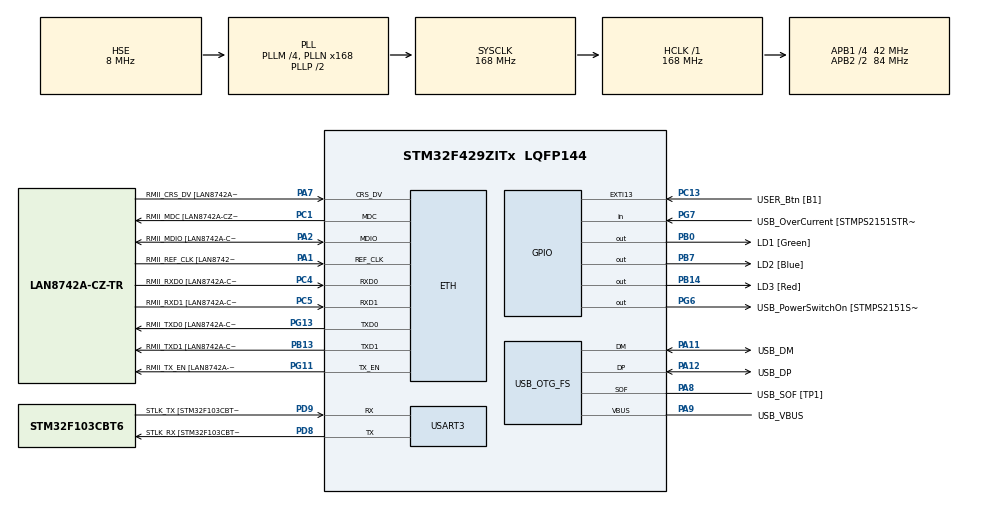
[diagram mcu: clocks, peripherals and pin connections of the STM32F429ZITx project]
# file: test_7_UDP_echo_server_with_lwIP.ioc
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ETH.MediaInterface=HAL_ETH_RMII_MODE
ETH.PHY_Name=LAN8742A_PHY_ADDRESS
ETH.PHY_Value=0
ETH.PhyAddress=0
LWIP.BSP.number=1
LWIP.CHECKSUM_BY_HARDWARE=1
LWIP.CHECKSUM_GEN_UDP=0
LWIP.GATEWAY_ADDRESS=192.168.001.001
LWIP.IP_ADDRESS=192.168.001.194
LWIP.LWIP_DHCP=0
LWIP.NETMASK_ADDRESS=255.255.255.000
LWIP.Version=v2.1.2_Cube
LWIP0.BSP.STBoard=false
LWIP0.BSP.api=BSP_COMPONENT_DRIVER
LWIP0.BSP.component=LAN8742
LWIP0.BSP.instance=LAN8742
LWIP0.BSP.name=Driver_PHY
LWIP0.BSP.semaphore=S_LAN8742
LWIP0.BSP.solution=LAN8742
Mcu.Family=STM32F4
Mcu.Name=STM32F429ZITx
Mcu.Package=LQFP144
NVIC.PriorityGroup=NVIC_PRIORITYGROUP_4
PA1.GPIO_Label=RMII_REF_CLK [LAN8742A-CZ-TR_REFCLK0]
PA1.Mode=RMII
PA1.Signal=ETH_REF_CLK
PA10.GPIO_Label=USB_ID
PA10.Signal=USB_OTG_FS_ID
PA11.GPIO_Label=USB_DM
PA11.Mode=Device_Only
PA11.Signal=USB_OTG_FS_DM
PA12.GPIO_Label=USB_DP
PA12.Mode=Device_Only
PA12.Signal=USB_OTG_FS_DP
PA13.GPIO_Label=TMS
PA13.Mode=Serial_Wire
PA13.Signal=SYS_JTMS-SWDIO
PA14.GPIO_Label=TCK
PA14.Mode=Serial_Wire
PA14.Signal=SYS_JTCK-SWCLK
PA2.GPIO_Label=RMII_MDIO [LAN8742A-CZ-TR_MDIO]
PA2.Mode=RMII
PA2.Signal=ETH_MDIO
PA7.GPIO_Label=RMII_CRS_DV [LAN8742A-CZ-TR_CRS_DV]
PA7.Mode=RMII
PA7.Signal=ETH_CRS_DV
PA8.GPIO_Label=USB_SOF [TP1]
PA8.Mode=Activate_SOF_FS
PA8.Signal=USB_OTG_FS_SOF
PA9.GPIO_Label=USB_VBUS
PA9.Mode=Activate_VBUS
PA9.Signal=USB_OTG_FS_VBUS
PB0.GPIO_Label=LD1 [Green]
PB0.Signal=GPIO_Output
PB13.GPIO_Label=RMII_TXD1 [LAN8742A-CZ-TR_TXD1]
PB13.Mode=RMII
PB13.Signal=ETH_TXD1
PB14.GPIO_Label=LD3 [Red]
PB14.Signal=GPIO_Output
PB7.GPIO_Label=LD2 [Blue]
PB7.Signal=GPIO_Output
PC1.GPIO_Label=RMII_MDC [LAN8742A-CZ-TR_MDC]
PC1.Mode=RMII
PC1.Signal=ETH_MDC
PC13.GPIO_Label=USER_Btn [B1]
PC13.Signal=GPXTI13
PC14/OSC32_IN.Mode=LSE-External-Oscillator
PC14/OSC32_IN.Signal=RCC_OSC32_IN
PC15/OSC32_OUT.Mode=LSE-External-Oscillator
PC15/OSC32_OUT.Signal=RCC_OSC32_OUT
PC4.GPIO_Label=RMII_RXD0 [LAN8742A-CZ-TR_RXD0]
PC4.Mode=RMII
PC4.Signal=ETH_RXD0
PC5.GPIO_Label=RMII_RXD1 [LAN8742A-CZ-TR_RXD1]
PC5.Mode=RMII
PC5.Signal=ETH_RXD1
PD8.GPIO_Label=STLK_RX [STM32F103CBT6_PA3]
PD8.Mode=Asynchronous
PD8.Signal=USART3_TX
PD9.GPIO_Label=STLK_TX [STM32F103CBT6_PA2]
PD9.Mode=Asynchronous
PD9.Signal=USART3_RX
PG11.GPIO_Label=RMII_TX_EN [LAN8742A-CZ-TR_TXEN]
PG11.Mode=RMII
PG11.Signal=ETH_TX_EN
PG13.GPIO_Label=RMII_TXD0 [LAN8742A-CZ-TR_TXD0]
PG13.Mode=RMII
PG13.Signal=ETH_TXD0
PG6.GPIO_Label=USB_PowerSwitchOn [STMPS2151STR_EN]
PG6.Signal=GPIO_Output
PG7.GPIO_Label=USB_OverCurrent [STMPS2151STR_FAULT]
PG7.Signal=GPIO_Input
PH0/OSC_IN.GPIO_Label=MCO [STM32F103CBT6_PA8]
PH0/OSC_IN.Mode=HSE-External-Clock-Source
PH0/OSC_IN.Signal=RCC_OSC_IN
PH1/OSC_OUT.Mode=HSE-External-Clock-Source
PH1/OSC_OUT.Signal=RCC_OSC_OUT
ProjectManager.HeapSize=0x200
ProjectManager.StackSize=0x400
ProjectManager.TargetToolchain=STM32CubeIDE
RCC.48MHZClocksFreq_Value=48000000
RCC.AHBFreq_Value=168000000
RCC.APB1CLKDivider=RCC_HCLK_DIV4
RCC.APB1Freq_Value=42000000
RCC.APB1TimFreq_Value=84000000
RCC.APB2CLKDivider=RCC_HCLK_DIV2
RCC.APB2Freq_Value=84000000
RCC.APB2TimCLKDivider=2
RCC.APB2TimFreq_Value=168000000
RCC.CortexFreq_Value=168000000
RCC.HCLKFreq_Value=168000000
RCC.HSE_VALUE=8000000
RCC.HSI_VALUE=16000000
RCC.PLLM=4
RCC.PLLMUL=RCC_PLL_MUL9
RCC.PLLN=168
RCC.PLLQ=7
RCC.PRESCALERUSB=RCC_USBCLKSOURCE_PLL_DIV1_5
RCC.SYSCLKFreq_VALUE=168000000
RCC.SYSCLKSource=RCC_SYSCLKSOURCE_PLLCLK
RCC.SYSCLKSourceVirtual=RCC_SYSCLKSOURCE_PLLCLK
RCC.USBFreq_Value=48000000
RCC.VCOOutputFreq_Value=336000000
TIM1.Period=10-1
TIM1.Prescaler=8400-1
USART3.VirtualMode=VM_ASYNC
USB_OTG_FS.VirtualMode=Device_Only
VP_LWIP_VS_Enabled.Mode=Enabled
VP_TIM1_VS_ClockSourceINT.Mode=Internal
board=NUCLEO-F429ZI

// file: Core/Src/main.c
/* USER CODE BEGIN Header */
/**
  ******************************************************************************
  * @file           : main.c
  * @brief          : Main program body
  ******************************************************************************
  * @attention
  *
  * Copyright (c) 2024 STMicroelectronics.
  * All rights reserved.
  *
  * This software is licensed under terms that can be found in the LICENSE file
  * in the root directory of this software component.
  * If no LICENSE file comes with this software, it is provided AS-IS.
  *
  ******************************************************************************
  */
/* USER CODE END Header */
#include "main.h"
#include "lwip.h"

/* USER CODE BEGIN Includes */
#include "udp_echoserver.h"
#include <stdbool.h>
/* USER CODE END Includes */

TIM_HandleTypeDef htim1;

UART_HandleTypeDef huart3;

PCD_HandleTypeDef hpcd_USB_OTG_FS;

/* USER CODE BEGIN PV */
extern struct netif gnetif;
bool is_t;
/* USER CODE END PV */

void SystemClock_Config(void);
static void MX_GPIO_Init(void);
static void MX_USART3_UART_Init(void);
static void MX_USB_OTG_FS_PCD_Init(void);
static void MX_TIM1_Init(void);
/* USER CODE BEGIN PFP */
void ethernetif_notify_conn_changed(struct netif *netif);
/* USER CODE END PFP */

int main(void)
{

  /* MCU Configuration--------------------------------------------------------*/

  /* Reset of all peripherals, Initializes the Flash interface and the Systick. */
  HAL_Init();

  /* Configure the system clock */
  SystemClock_Config();

  /* Initialize all configured peripherals */
  MX_GPIO_Init();
  MX_USART3_UART_Init();
  MX_USB_OTG_FS_PCD_Init();
  MX_LWIP_Init();
  MX_TIM1_Init();
  /* USER CODE BEGIN 2 */
  udp_echoserver_init();
  /* USER CODE END 2 */

  /* Infinite loop */
  /* USER CODE BEGIN WHILE */
  while (1)
  {
  	ethernetif_notify_conn_changed(&gnetif);
  	if (is_t)
  	{
  		MX_LWIP_Process();
  		is_t = false;
  	}
    /* USER CODE END WHILE */

  }
}

void SystemClock_Config(void)
{
  RCC_OscInitTypeDef RCC_OscInitStruct = {0};
  RCC_ClkInitTypeDef RCC_ClkInitStruct = {0};

  /** Configure the main internal regulator output voltage
  */
  __HAL_RCC_PWR_CLK_ENABLE();
  __HAL_PWR_VOLTAGESCALING_CONFIG(PWR_REGULATOR_VOLTAGE_SCALE1);

  /** Initializes the RCC Oscillators according to the specified parameters
  * in the RCC_OscInitTypeDef structure.
  */
  RCC_OscInitStruct.OscillatorType = RCC_OSCILLATORTYPE_HSE;
  RCC_OscInitStruct.HSEState = RCC_HSE_BYPASS;
  RCC_OscInitStruct.PLL.PLLState = RCC_PLL_ON;
  RCC_OscInitStruct.PLL.PLLSource = RCC_PLLSOURCE_HSE;
  RCC_OscInitStruct.PLL.PLLM = 4;
  RCC_OscInitStruct.PLL.PLLN = 168;
  RCC_OscInitStruct.PLL.PLLP = RCC_PLLP_DIV2;
  RCC_OscInitStruct.PLL.PLLQ = 7;
  if (HAL_RCC_OscConfig(&RCC_OscInitStruct) != HAL_OK)
  {
    Error_Handler();
  }

  /** Initializes the CPU, AHB and APB buses clocks
  */
  RCC_ClkInitStruct.ClockType = RCC_CLOCKTYPE_HCLK|RCC_CLOCKTYPE_SYSCLK
                              |RCC_CLOCKTYPE_PCLK1|RCC_CLOCKTYPE_PCLK2;
  RCC_ClkInitStruct.SYSCLKSource = RCC_SYSCLKSOURCE_PLLCLK;
  RCC_ClkInitStruct.AHBCLKDivider = RCC_SYSCLK_DIV1;
  RCC_ClkInitStruct.APB1CLKDivider = RCC_HCLK_DIV4;
  RCC_ClkInitStruct.APB2CLKDivider = RCC_HCLK_DIV2;

  if (HAL_RCC_ClockConfig(&RCC_ClkInitStruct, FLASH_LATENCY_5) != HAL_OK)
  {
    Error_Handler();
  }
}

static void MX_TIM1_Init(void)
{

  TIM_ClockConfigTypeDef sClockSourceConfig = {0};
  TIM_MasterConfigTypeDef sMasterConfig = {0};

  htim1.Instance = TIM1;
  htim1.Init.Prescaler = 8400-1;
  htim1.Init.CounterMode = TIM_COUNTERMODE_UP;
  htim1.Init.Period = 10-1;
  htim1.Init.ClockDivision = TIM_CLOCKDIVISION_DIV1;
  htim1.Init.RepetitionCounter = 0;
  htim1.Init.AutoReloadPreload = TIM_AUTORELOAD_PRELOAD_DISABLE;
  if (HAL_TIM_Base_Init(&htim1) != HAL_OK)
  {
    Error_Handler();
  }
  sClockSourceConfig.ClockSource = TIM_CLOCKSOURCE_INTERNAL;
  if (HAL_TIM_ConfigClockSource(&htim1, &sClockSourceConfig) != HAL_OK)
  {
    Error_Handler();
  }
  sMasterConfig.MasterOutputTrigger = TIM_TRGO_RESET;
  sMasterConfig.MasterSlaveMode = TIM_MASTERSLAVEMODE_DISABLE;
  if (HAL_TIMEx_MasterConfigSynchronization(&htim1, &sMasterConfig) != HAL_OK)
  {
    Error_Handler();
  }

}

static void MX_USART3_UART_Init(void)
{

  huart3.Instance = USART3;
  huart3.Init.BaudRate = 115200;
  huart3.Init.WordLength = UART_WORDLENGTH_8B;
  huart3.Init.StopBits = UART_STOPBITS_1;
  huart3.Init.Parity = UART_PARITY_NONE;
  huart3.Init.Mode = UART_MODE_TX_RX;
  huart3.Init.HwFlowCtl = UART_HWCONTROL_NONE;
  huart3.Init.OverSampling = UART_OVERSAMPLING_16;
  if (HAL_UART_Init(&huart3) != HAL_OK)
  {
    Error_Handler();
  }

}

static void MX_USB_OTG_FS_PCD_Init(void)
{

  hpcd_USB_OTG_FS.Instance = USB_OTG_FS;
  hpcd_USB_OTG_FS.Init.dev_endpoints = 4;
  hpcd_USB_OTG_FS.Init.speed = PCD_SPEED_FULL;
  hpcd_USB_OTG_FS.Init.dma_enable = DISABLE;
  hpcd_USB_OTG_FS.Init.phy_itface = PCD_PHY_EMBEDDED;
  hpcd_USB_OTG_FS.Init.Sof_enable = ENABLE;
  hpcd_USB_OTG_FS.Init.low_power_enable = DISABLE;
  hpcd_USB_OTG_FS.Init.lpm_enable = DISABLE;
  hpcd_USB_OTG_FS.Init.vbus_sensing_enable = ENABLE;
  hpcd_USB_OTG_FS.Init.use_dedicated_ep1 = DISABLE;
  if (HAL_PCD_Init(&hpcd_USB_OTG_FS) != HAL_OK)
  {
    Error_Handler();
  }

}

static void MX_GPIO_Init(void)
{
  GPIO_InitTypeDef GPIO_InitStruct = {0};

  /* GPIO Ports Clock Enable */
  __HAL_RCC_GPIOC_CLK_ENABLE();
  __HAL_RCC_GPIOH_CLK_ENABLE();
  __HAL_RCC_GPIOA_CLK_ENABLE();
  __HAL_RCC_GPIOB_CLK_ENABLE();
  __HAL_RCC_GPIOD_CLK_ENABLE();
  __HAL_RCC_GPIOG_CLK_ENABLE();

  /*Configure GPIO pin Output Level */
  HAL_GPIO_WritePin(GPIOB, LD1_Pin|LD3_Pin|LD2_Pin, GPIO_PIN_RESET);

  /*Configure GPIO pin Output Level */
  HAL_GPIO_WritePin(USB_PowerSwitchOn_GPIO_Port, USB_PowerSwitchOn_Pin, GPIO_PIN_RESET);

  /*Configure GPIO pin : USER_Btn_Pin */
  GPIO_InitStruct.Pin = USER_Btn_Pin;
  GPIO_InitStruct.Mode = GPIO_MODE_IT_RISING;
  GPIO_InitStruct.Pull = GPIO_NOPULL;
  HAL_GPIO_Init(USER_Btn_GPIO_Port, &GPIO_InitStruct);

  /*Configure GPIO pins : LD1_Pin LD3_Pin LD2_Pin */
  GPIO_InitStruct.Pin = LD1_Pin|LD3_Pin|LD2_Pin;
  GPIO_InitStruct.Mode = GPIO_MODE_OUTPUT_PP;
  GPIO_InitStruct.Pull = GPIO_NOPULL;
  GPIO_InitStruct.Speed = GPIO_SPEED_FREQ_LOW;
  HAL_GPIO_Init(GPIOB, &GPIO_InitStruct);

  /*Configure GPIO pin : USB_PowerSwitchOn_Pin */
  GPIO_InitStruct.Pin = USB_PowerSwitchOn_Pin;
  GPIO_InitStruct.Mode = GPIO_MODE_OUTPUT_PP;
  GPIO_InitStruct.Pull = GPIO_NOPULL;
  GPIO_InitStruct.Speed = GPIO_SPEED_FREQ_LOW;
  HAL_GPIO_Init(USB_PowerSwitchOn_GPIO_Port, &GPIO_InitStruct);

  /*Configure GPIO pin : USB_OverCurrent_Pin */
  GPIO_InitStruct.Pin = USB_OverCurrent_Pin;
  GPIO_InitStruct.Mode = GPIO_MODE_INPUT;
  GPIO_InitStruct.Pull = GPIO_NOPULL;
  HAL_GPIO_Init(USB_OverCurrent_GPIO_Port, &GPIO_InitStruct);

}

/* USER CODE BEGIN 4 */
void ethernetif_notify_conn_changed(struct netif *netif)
{
	/* NOTE : This is function could be implemented in user file
	 when the callback is needed,
	 */
	if (netif_is_link_up(netif))
	{
		HAL_GPIO_WritePin(LD1_GPIO_Port, LD1_Pin, GPIO_PIN_SET);
		HAL_GPIO_WritePin(LD3_GPIO_Port, LD3_Pin, GPIO_PIN_RESET);
	}
	else
	{
		HAL_GPIO_WritePin(LD1_GPIO_Port, LD1_Pin, GPIO_PIN_RESET);
		HAL_GPIO_WritePin(LD3_GPIO_Port, LD3_Pin, GPIO_PIN_SET);
	}
}

void HAL_TIM_PeriodElapsedCallback(TIM_HandleTypeDef *htim)
{
	if(htim->Instance==TIM1){
		is_t = true;
	}
}
/* USER CODE END 4 */

void Error_Handler(void)
{
  __disable_irq();
  while (1)
  {
  }
}
